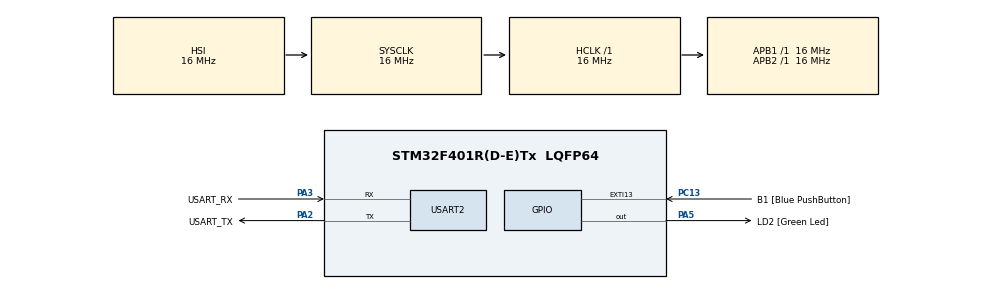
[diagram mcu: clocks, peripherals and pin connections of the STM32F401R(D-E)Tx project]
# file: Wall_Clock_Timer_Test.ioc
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Mcu.Family=STM32F4
Mcu.Name=STM32F401R(D-E)Tx
Mcu.Package=LQFP64
NVIC.PriorityGroup=NVIC_PRIORITYGROUP_4
NVIC.TIM5_IRQn=true\:0\:0\:false\:false\:true\:true\:true\:true
PA13.GPIO_Label=TMS
PA13.Mode=Trace_Asynchronous_SW
PA13.Signal=SYS_JTMS-SWDIO
PA14.GPIO_Label=TCK
PA14.Mode=Trace_Asynchronous_SW
PA14.Signal=SYS_JTCK-SWCLK
PA2.GPIO_Label=USART_TX
PA2.GPIO_Mode=GPIO_MODE_AF_PP
PA2.GPIO_PuPd=GPIO_NOPULL
PA2.GPIO_Speed=GPIO_SPEED_FREQ_LOW
PA2.Mode=Asynchronous
PA2.Signal=USART2_TX
PA3.GPIO_Label=USART_RX
PA3.GPIO_Mode=GPIO_MODE_AF_PP
PA3.GPIO_PuPd=GPIO_NOPULL
PA3.GPIO_Speed=GPIO_SPEED_FREQ_LOW
PA3.Mode=Asynchronous
PA3.Signal=USART2_RX
PA5.GPIO_Label=LD2 [Green Led]
PA5.GPIO_Mode=GPIO_MODE_OUTPUT_PP
PA5.GPIO_PuPd=GPIO_NOPULL
PA5.GPIO_Speed=GPIO_SPEED_FREQ_LOW
PA5.Signal=GPIO_Output
PB3.GPIO_Label=SWO
PB3.Mode=Trace_Asynchronous_SW
PB3.Signal=SYS_JTDO-SWO
PC13-ANTI_TAMP.GPIO_Label=B1 [Blue PushButton]
PC13-ANTI_TAMP.GPIO_ModeDefaultEXTI=GPIO_MODE_IT_FALLING
PC13-ANTI_TAMP.GPIO_PuPd=GPIO_NOPULL
PC13-ANTI_TAMP.Signal=GPXTI13
PC14-OSC32_IN.Mode=LSE-External-Oscillator
PC14-OSC32_IN.Signal=RCC_OSC32_IN
PC15-OSC32_OUT.Mode=LSE-External-Oscillator
PC15-OSC32_OUT.Signal=RCC_OSC32_OUT
PH0\ -\ OSC_IN.Mode=HSE-External-Clock-Source
PH0\ -\ OSC_IN.Signal=RCC_OSC_IN
PH1\ -\ OSC_OUT.Mode=HSE-External-Clock-Source
PH1\ -\ OSC_OUT.Signal=RCC_OSC_OUT
ProjectManager.HeapSize=0x200
ProjectManager.StackSize=0x400
ProjectManager.TargetToolchain=STM32CubeIDE
RCC.48MHZClocksFreq_Value=48000000
RCC.AHBFreq_Value=16000000
RCC.APB1Freq_Value=16000000
RCC.APB1TimFreq_Value=16000000
RCC.APB2Freq_Value=16000000
RCC.APB2TimFreq_Value=16000000
RCC.CortexFreq_Value=16000000
RCC.HCLKFreq_Value=16000000
RCC.HSE_VALUE=8000000
RCC.HSI_VALUE=16000000
RCC.PLLN=336
RCC.PLLP=RCC_PLLP_DIV4
RCC.PLLQ=7
RCC.SYSCLKFreq_VALUE=16000000
RCC.VCOOutputFreq_Value=336000000
TIM5.AutoReloadPreload=TIM_AUTORELOAD_PRELOAD_ENABLE
TIM5.Period=1000-1
TIM5.Prescaler=16000-1
USART2.VirtualMode=VM_ASYNC
VP_TIM5_VS_ClockSourceINT.Mode=Internal
board=NUCLEO-F401RE

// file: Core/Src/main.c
/* USER CODE BEGIN Header */
/**
  ******************************************************************************
  * @file           : main.c
  * @brief          : Main program body
  ******************************************************************************
  * @attention
  *
  * Copyright (c) 2025 STMicroelectronics.
  * All rights reserved.
  *
  * This software is licensed under terms that can be found in the LICENSE file
  * in the root directory of this software component.
  * If no LICENSE file comes with this software, it is provided AS-IS.
  *
  ******************************************************************************
  */
/* USER CODE END Header */
#include "main.h"

/* USER CODE BEGIN Includes */
#include <string.h>
#include <stdio.h>
/* USER CODE END Includes */

TIM_HandleTypeDef htim5;

UART_HandleTypeDef huart2;

/* USER CODE BEGIN PV */
volatile uint8_t clock_hours = 0;
volatile uint8_t clock_mins = 0;
volatile uint8_t clock_secs = 0;

volatile uint8_t wall_clock_hr_update_flag = 0;
/* USER CODE END PV */

void SystemClock_Config(void);
static void MX_GPIO_Init(void);
static void MX_USART2_UART_Init(void);
static void MX_TIM5_Init(void);

int main(void)
{

  /* USER CODE BEGIN 1 */
	char clk_title[64] = {0};
	char clk_label[64] = {0};
	char clk_msg_buffer[64] = {0};
  /* USER CODE END 1 */

  /* MCU Configuration--------------------------------------------------------*/

  /* Reset of all peripherals, Initializes the Flash interface and the Systick. */
  HAL_Init();

  /* Configure the system clock */
  SystemClock_Config();

  /* Initialize all configured peripherals */
  MX_GPIO_Init();
  MX_USART2_UART_Init();
  MX_TIM5_Init();
  /* USER CODE BEGIN 2 */
  HAL_TIM_Base_Start_IT(&htim5);
  clock_hours = 0;
  clock_mins = 0;
  clock_secs = 0;
  /* USER CODE END 2 */

  /* Infinite loop */
  /* USER CODE BEGIN WHILE */
  while (1)
  {
	  if (wall_clock_hr_update_flag) {
		  wall_clock_hr_update_flag = 0;

		  sprintf( clk_title, "\r\n CLOCK TIME (REAL) ");
		  sprintf( clk_label, "\r\n HOURS   MINS   SECS");
		  sprintf(clk_msg_buffer, "\r\n %02u : %02u : %02u", clock_hours, clock_mins, clock_secs);
		  HAL_UART_Transmit(&huart2, (uint8_t *)clk_title, strlen(clk_title), HAL_MAX_DELAY);
		  HAL_UART_Transmit(&huart2, (uint8_t *)clk_label, strlen(clk_label), HAL_MAX_DELAY);
		  HAL_UART_Transmit(&huart2, (uint8_t *)clk_msg_buffer, strlen(clk_msg_buffer), HAL_MAX_DELAY);
	  }

    /* USER CODE END WHILE */

  }
}

void SystemClock_Config(void)
{
  RCC_OscInitTypeDef RCC_OscInitStruct = {0};
  RCC_ClkInitTypeDef RCC_ClkInitStruct = {0};

  /** Configure the main internal regulator output voltage
  */
  __HAL_RCC_PWR_CLK_ENABLE();
  __HAL_PWR_VOLTAGESCALING_CONFIG(PWR_REGULATOR_VOLTAGE_SCALE2);

  /** Initializes the RCC Oscillators according to the specified parameters
  * in the RCC_OscInitTypeDef structure.
  */
  RCC_OscInitStruct.OscillatorType = RCC_OSCILLATORTYPE_HSI;
  RCC_OscInitStruct.HSIState = RCC_HSI_ON;
  RCC_OscInitStruct.HSICalibrationValue = RCC_HSICALIBRATION_DEFAULT;
  RCC_OscInitStruct.PLL.PLLState = RCC_PLL_NONE;
  if (HAL_RCC_OscConfig(&RCC_OscInitStruct) != HAL_OK)
  {
    Error_Handler();
  }

  /** Initializes the CPU, AHB and APB buses clocks
  */
  RCC_ClkInitStruct.ClockType = RCC_CLOCKTYPE_HCLK|RCC_CLOCKTYPE_SYSCLK
                              |RCC_CLOCKTYPE_PCLK1|RCC_CLOCKTYPE_PCLK2;
  RCC_ClkInitStruct.SYSCLKSource = RCC_SYSCLKSOURCE_HSI;
  RCC_ClkInitStruct.AHBCLKDivider = RCC_SYSCLK_DIV1;
  RCC_ClkInitStruct.APB1CLKDivider = RCC_HCLK_DIV1;
  RCC_ClkInitStruct.APB2CLKDivider = RCC_HCLK_DIV1;

  if (HAL_RCC_ClockConfig(&RCC_ClkInitStruct, FLASH_LATENCY_0) != HAL_OK)
  {
    Error_Handler();
  }
}

static void MX_TIM5_Init(void)
{

  TIM_ClockConfigTypeDef sClockSourceConfig = {0};
  TIM_MasterConfigTypeDef sMasterConfig = {0};

  htim5.Instance = TIM5;
  htim5.Init.Prescaler = 16000-1;
  htim5.Init.CounterMode = TIM_COUNTERMODE_UP;
  htim5.Init.Period = 1000-1;
  htim5.Init.ClockDivision = TIM_CLOCKDIVISION_DIV1;
  htim5.Init.AutoReloadPreload = TIM_AUTORELOAD_PRELOAD_ENABLE;
  if (HAL_TIM_Base_Init(&htim5) != HAL_OK)
  {
    Error_Handler();
  }
  sClockSourceConfig.ClockSource = TIM_CLOCKSOURCE_INTERNAL;
  if (HAL_TIM_ConfigClockSource(&htim5, &sClockSourceConfig) != HAL_OK)
  {
    Error_Handler();
  }
  sMasterConfig.MasterOutputTrigger = TIM_TRGO_RESET;
  sMasterConfig.MasterSlaveMode = TIM_MASTERSLAVEMODE_DISABLE;
  if (HAL_TIMEx_MasterConfigSynchronization(&htim5, &sMasterConfig) != HAL_OK)
  {
    Error_Handler();
  }

}

static void MX_USART2_UART_Init(void)
{

  huart2.Instance = USART2;
  huart2.Init.BaudRate = 115200;
  huart2.Init.WordLength = UART_WORDLENGTH_8B;
  huart2.Init.StopBits = UART_STOPBITS_1;
  huart2.Init.Parity = UART_PARITY_NONE;
  huart2.Init.Mode = UART_MODE_TX_RX;
  huart2.Init.HwFlowCtl = UART_HWCONTROL_NONE;
  huart2.Init.OverSampling = UART_OVERSAMPLING_16;
  if (HAL_UART_Init(&huart2) != HAL_OK)
  {
    Error_Handler();
  }

}

static void MX_GPIO_Init(void)
{
  GPIO_InitTypeDef GPIO_InitStruct = {0};

  /* GPIO Ports Clock Enable */
  __HAL_RCC_GPIOC_CLK_ENABLE();
  __HAL_RCC_GPIOH_CLK_ENABLE();
  __HAL_RCC_GPIOA_CLK_ENABLE();
  __HAL_RCC_GPIOB_CLK_ENABLE();

  /*Configure GPIO pin Output Level */
  HAL_GPIO_WritePin(LD2_GPIO_Port, LD2_Pin, GPIO_PIN_RESET);

  /*Configure GPIO pin : B1_Pin */
  GPIO_InitStruct.Pin = B1_Pin;
  GPIO_InitStruct.Mode = GPIO_MODE_IT_FALLING;
  GPIO_InitStruct.Pull = GPIO_NOPULL;
  HAL_GPIO_Init(B1_GPIO_Port, &GPIO_InitStruct);

  /*Configure GPIO pin : LD2_Pin */
  GPIO_InitStruct.Pin = LD2_Pin;
  GPIO_InitStruct.Mode = GPIO_MODE_OUTPUT_PP;
  GPIO_InitStruct.Pull = GPIO_NOPULL;
  GPIO_InitStruct.Speed = GPIO_SPEED_FREQ_LOW;
  HAL_GPIO_Init(LD2_GPIO_Port, &GPIO_InitStruct);

}

/* USER CODE BEGIN 4 */

void HAL_TIM_PeriodElapsedCallback(TIM_HandleTypeDef *htim)
{
	if ((htim->Instance == TIM5))
	{
		wall_clock_hr_update_flag = 0;
		clock_secs += 1;
		if (clock_secs == 60) {
			clock_mins += 1;
			clock_secs = 0;
		}
		if (clock_mins == 60) {
			clock_hours += 1;
			clock_mins = 0;
		}

		wall_clock_hr_update_flag = 1;
	}

}

/* USER CODE END 4 */

void Error_Handler(void)
{
  __disable_irq();
  while (1)
  {
  }
}
